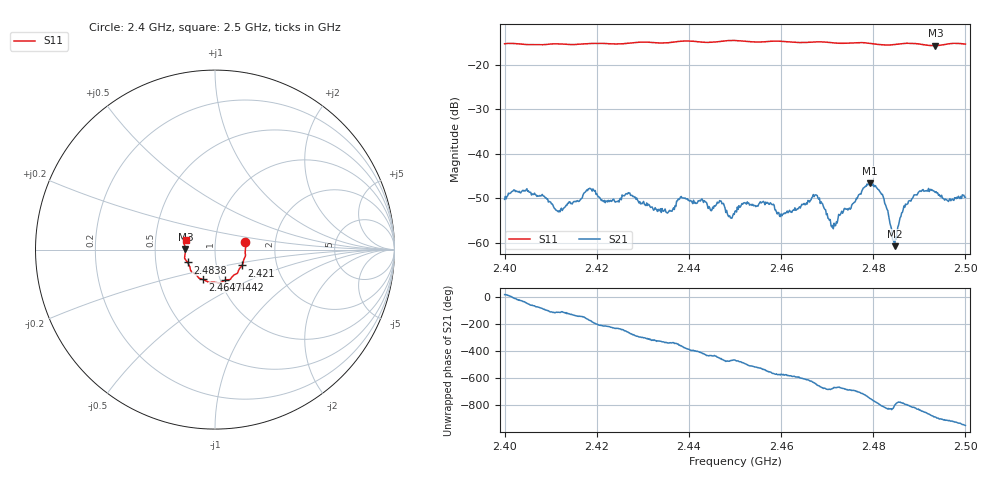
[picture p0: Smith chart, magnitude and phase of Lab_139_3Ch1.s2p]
# Hz S RI R 50
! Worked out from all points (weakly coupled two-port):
!   601 points, 2.4 GHz to 2.5 GHz, reference 50 ohm
!   highest |S21| = -46.69 dB at 2.4793 GHz (marker M1); lowest = -60.8 dB at 2.4847 GHz (marker M2)
!   lowest |S11| = -15.6 dB at 2.4935 GHz (marker M3), VSWR 1.40, Z = 35.8 + j0.193 ohm
!   |S11| at or under -10 dB: start of sweep to end of sweep
!   S12 and S22 are empty: the file has one direction only
!   S11 on the Smith chart (normalised r, x): 2.4 GHz: 1.40, +0.12; 2.421 GHz: 1.33, -0.24; 2.4442 GHz: 1.05, -0.37; 2.4647 GHz: 0.83, -0.28; 2.4838 GHz: 0.73, -0.11; 2.5 GHz: 0.72, +0.08
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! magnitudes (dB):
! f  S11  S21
! 2.4 GHz  -15.2  -50.3
! 2.4048 GHz  -15.4  -47.9
! 2.4117 GHz  -15.2  -53.1
! 2.4167 GHz  -15.3  -50.1
! 2.4187 GHz  -15.1  -47.9
! 2.421 GHz  -15.1  -50.5
! 2.4268 GHz  -15.1  -48.8
! 2.4333 GHz  -15.0  -52.5
! 2.4387 GHz  -14.6  -49.9
! 2.4442 GHz  -14.9  -52.3
! 2.45 GHz  -14.5  -52.9
! 2.4647 GHz  -14.9  -51.5
! 2.4667 GHz  -14.8  -49.9
! 2.4713 GHz  -15.0  -56.9
! 2.4793 GHz  -15.1  -46.7
! 2.4817 GHz  -15.4  -48.9
! 2.4833 GHz  -15.5  -53.9
! 2.4838 GHz  -15.5  -56.4
! 2.4847 GHz  -15.4  -60.8
! 2.4872 GHz  -15.1  -51.5
! 2.4935 GHz  -15.6  -48.7
! 2.5 GHz  -15.3  -49.8
